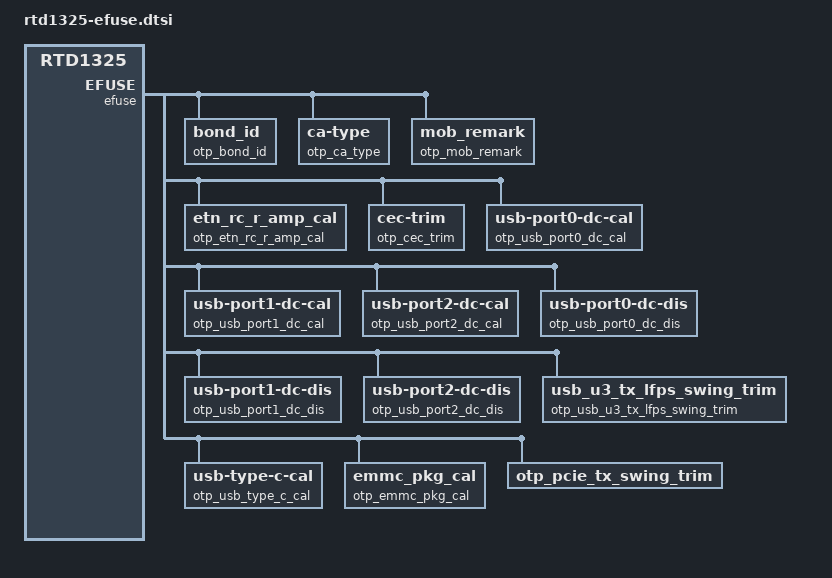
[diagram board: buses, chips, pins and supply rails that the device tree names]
// SPDX-License-Identifier: GPL-2.0
/* Copyright (C) 2020 Realtek Semiconductor Corporation
 */
&efuse {
	otp_bond_id: bond_id@3c8,0 {
		reg = <0x3c8 0x4>;
	};
	otp_ca_type: ca-type@3ec,0 {
		reg = <0x3ec 0x1>;
	};
	otp_mob_remark: mob_remark@48c,7 {
		reg = <0x48c 0x1>;
		bits = <7 1>;
	};
	otp_etn_rc_r_amp_cal: etn_rc_r_amp_cal@500,0 {
		reg = <0x500 0x8>;
	};
	otp_cec_trim: cec-trim@524,0 {
		reg = <0x524 0x1>;
		bits = <0 5>;
	};
	otp_usb_port0_dc_cal: usb-port0-dc-cal@528,0 {
		reg = <0x528 0x1>;
		bits = <0 5>;
	};
	otp_usb_port1_dc_cal: usb-port1-dc-cal@529,0 {
		reg = <0x529 0x1>;
		bits = <0 5>;
	};
	otp_usb_port2_dc_cal: usb-port2-dc-cal@52a,0 {
		reg = <0x52a 0x1>;
		bits = <0 5>;
	};
	otp_usb_port0_dc_dis: usb-port0-dc-dis@52b,0 {
		reg = <0x52b 0x1>;
		bits = <0 4>;
	};
	otp_usb_port1_dc_dis: usb-port1-dc-dis@52b,4 {
		reg = <0x52b 0x1>;
		bits = <4 4>;
	};
	otp_usb_port2_dc_dis: usb-port2-dc-dis@52c,0 {
		reg = <0x52c 0x1>;
		bits = <0 4>;
	};
	otp_usb_u3_tx_lfps_swing_trim: usb_u3_tx_lfps_swing_trim@52c,4 {
		reg = <0x52c 0x1>;
		bits = <4 4>;
	};
	otp_usb_type_c_cal: usb-type-c-cal@52d,0 {
		reg = <0x52d 0x9>;
	};
	otp_emmc_pkg_cal: emmc_pkg_cal@540,0 {
		reg = <0x540 0x4>;
	};
	otp_pcie_tx_swing_trim: otp_pcie_tx_swing_trim@fcc,0 {
		reg = <0xfcc 0x1>;
		bits = <0 4>;
	};
};
